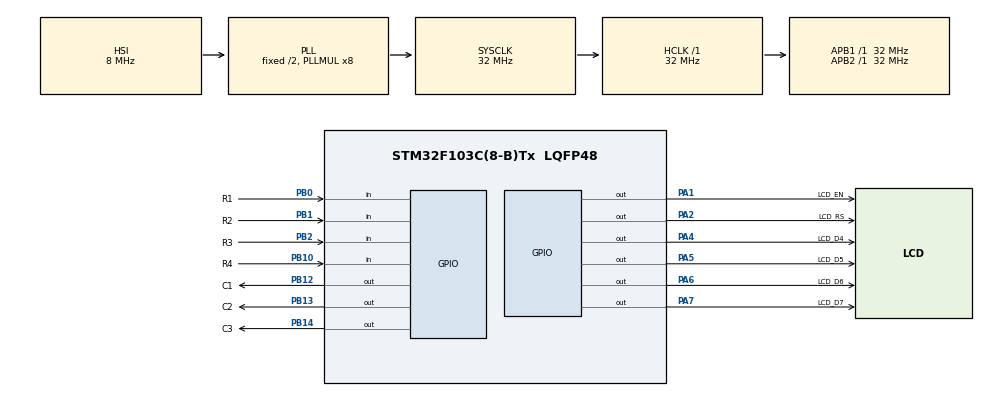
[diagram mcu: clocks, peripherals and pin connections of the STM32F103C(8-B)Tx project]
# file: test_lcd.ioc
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Mcu.Family=STM32F1
Mcu.Name=STM32F103C(8-B)Tx
Mcu.Package=LQFP48
NVIC.PriorityGroup=NVIC_PRIORITYGROUP_4
PA1.GPIO_Label=LCD_EN
PA1.Signal=GPIO_Output
PA13.Mode=Serial_Wire
PA13.Signal=SYS_JTMS-SWDIO
PA14.Mode=Serial_Wire
PA14.Signal=SYS_JTCK-SWCLK
PA2.GPIO_Label=LCD_RS
PA2.Signal=GPIO_Output
PA4.GPIO_Label=LCD_D4
PA4.Signal=GPIO_Output
PA5.GPIO_Label=LCD_D5
PA5.Signal=GPIO_Output
PA6.GPIO_Label=LCD_D6
PA6.Signal=GPIO_Output
PA7.GPIO_Label=LCD_D7
PA7.Signal=GPIO_Output
PB0.GPIO_Label=R1
PB0.GPIO_PuPd=GPIO_PULLDOWN
PB0.Signal=GPIO_Input
PB1.GPIO_Label=R2
PB1.GPIO_PuPd=GPIO_PULLDOWN
PB1.Signal=GPIO_Input
PB10.GPIO_Label=R4
PB10.GPIO_PuPd=GPIO_PULLDOWN
PB10.Signal=GPIO_Input
PB12.GPIO_Label=C1
PB12.GPIO_ModeDefaultOutputPP=GPIO_MODE_OUTPUT_OD
PB12.GPIO_PuPd=GPIO_PULLDOWN
PB12.GPIO_Speed=GPIO_SPEED_FREQ_HIGH
PB12.PinState=GPIO_PIN_SET
PB12.Signal=GPIO_Output
PB13.GPIO_Label=C2
PB13.GPIO_ModeDefaultOutputPP=GPIO_MODE_OUTPUT_OD
PB13.GPIO_PuPd=GPIO_PULLDOWN
PB13.GPIO_Speed=GPIO_SPEED_FREQ_HIGH
PB13.PinState=GPIO_PIN_SET
PB13.Signal=GPIO_Output
PB14.GPIO_Label=C3
PB14.GPIO_ModeDefaultOutputPP=GPIO_MODE_OUTPUT_OD
PB14.GPIO_PuPd=GPIO_NOPULL
PB14.GPIO_Speed=GPIO_SPEED_FREQ_HIGH
PB14.PinState=GPIO_PIN_SET
PB14.Signal=GPIO_Output
PB2.GPIO_Label=R3
PB2.GPIO_PuPd=GPIO_PULLDOWN
PB2.Signal=GPIO_Input
PD0-OSC_IN.Mode=HSE-External-Oscillator
PD0-OSC_IN.Signal=RCC_OSC_IN
PD1-OSC_OUT.Mode=HSE-External-Oscillator
PD1-OSC_OUT.Signal=RCC_OSC_OUT
ProjectManager.HeapSize=0x200
ProjectManager.StackSize=0x400
ProjectManager.TargetToolchain=MDK-ARM V5
RCC.AHBFreq_Value=32000000
RCC.APB1Freq_Value=32000000
RCC.APB1TimFreq_Value=32000000
RCC.APB2Freq_Value=32000000
RCC.APB2TimFreq_Value=32000000
RCC.HCLKFreq_Value=32000000
RCC.PLLMUL=RCC_PLL_MUL8
RCC.SYSCLKFreq_VALUE=32000000
RCC.SYSCLKSource=RCC_SYSCLKSOURCE_PLLCLK
RCC.USBFreq_Value=32000000
board=custom

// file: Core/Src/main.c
/* USER CODE BEGIN Header */
/**
  ******************************************************************************
  * @file           : main.c
  * @brief          : Main program body
  ******************************************************************************
  * @attention
  *
  * <h2><center>&copy; Copyright (c) 2020 STMicroelectronics.
  * All rights reserved.</center></h2>
  *
  * This software component is licensed by ST under BSD 3-Clause license,
  * the "License"; You may not use this file except in compliance with the
  * License. You may obtain a copy of the License at:
  *                        opensource.org/licenses/BSD-3-Clause
  *
  ******************************************************************************
  */
/* USER CODE END Header */
#include "main.h"

/* USER CODE BEGIN PD */

#include "stdio.h"

/* USER CODE END PD */

void SystemClock_Config(void);
static void MX_GPIO_Init(void);
/* USER CODE BEGIN PFP */
#include "lcd.h"
/* USER CODE END PFP */

int main(void)
{

  /* MCU Configuration--------------------------------------------------------*/

  /* Reset of all peripherals, Initializes the Flash interface and the Systick. */
  HAL_Init();

  /* Configure the system clock */
  SystemClock_Config();

  /* Initialize all configured peripherals */
  MX_GPIO_Init();
  /* USER CODE BEGIN 2 */
	  lcd_init(_LCD_4BIT, _LCD_FONT_5x8, _LCD_2LINE);
	//	lcd_print(1,1,"Entered Number");
		char yazi[1]=" ";
		char yazi2[1]=" ";
		int i=0;
		int s=0;

  /* USER CODE END 2 */

  /* Infinite loop */
  while (1)
  {

    /* USER CODE BEGIN 3 */

		HAL_GPIO_WritePin(GPIOB, GPIO_PIN_0, GPIO_PIN_RESET);
		HAL_GPIO_WritePin(GPIOB, GPIO_PIN_1, GPIO_PIN_SET);
		HAL_GPIO_WritePin(GPIOB, GPIO_PIN_2, GPIO_PIN_SET);
		HAL_GPIO_WritePin(GPIOB, GPIO_PIN_10, GPIO_PIN_SET);
		HAL_Delay(1);

		if (!HAL_GPIO_ReadPin(GPIOB, GPIO_PIN_12)){

				lcd_print(2,1,"1");

		}
		if (!HAL_GPIO_ReadPin(GPIOB, GPIO_PIN_13)){

				lcd_print(2,1,"2");

		}
		if (!HAL_GPIO_ReadPin(GPIOB, GPIO_PIN_14)){

				lcd_print(2,1,"3");

		}

		HAL_GPIO_WritePin(GPIOB, GPIO_PIN_12, GPIO_PIN_SET);
		HAL_GPIO_WritePin(GPIOB, GPIO_PIN_13, GPIO_PIN_SET);
		HAL_GPIO_WritePin(GPIOB, GPIO_PIN_14, GPIO_PIN_SET);

		HAL_GPIO_WritePin(GPIOB, GPIO_PIN_0, GPIO_PIN_SET);
		HAL_GPIO_WritePin(GPIOB, GPIO_PIN_1, GPIO_PIN_RESET);
		HAL_GPIO_WritePin(GPIOB, GPIO_PIN_2, GPIO_PIN_SET);
		HAL_GPIO_WritePin(GPIOB, GPIO_PIN_10, GPIO_PIN_SET);
		HAL_Delay(1);

		if (!HAL_GPIO_ReadPin(GPIOB, GPIO_PIN_12)){

				lcd_print(2,1,"4");

		}
		if (!HAL_GPIO_ReadPin(GPIOB, GPIO_PIN_13)){

				lcd_print(2,1,"5");

		}
		if (!HAL_GPIO_ReadPin(GPIOB, GPIO_PIN_14)){

				lcd_print(2,1,"6");

		}

		HAL_GPIO_WritePin(GPIOB, GPIO_PIN_12, GPIO_PIN_SET);
		HAL_GPIO_WritePin(GPIOB, GPIO_PIN_13, GPIO_PIN_SET);
		HAL_GPIO_WritePin(GPIOB, GPIO_PIN_14, GPIO_PIN_SET);

		HAL_GPIO_WritePin(GPIOB, GPIO_PIN_0, GPIO_PIN_SET);
		HAL_GPIO_WritePin(GPIOB, GPIO_PIN_1, GPIO_PIN_SET);
		HAL_GPIO_WritePin(GPIOB, GPIO_PIN_2, GPIO_PIN_RESET);
		HAL_GPIO_WritePin(GPIOB, GPIO_PIN_10, GPIO_PIN_SET);
		HAL_Delay(1);

		if (!HAL_GPIO_ReadPin(GPIOB, GPIO_PIN_12)){

				lcd_print(2,1,"7");

		}
		if (!HAL_GPIO_ReadPin(GPIOB, GPIO_PIN_13)){

				lcd_print(2,1,"8");

		}
		if (!HAL_GPIO_ReadPin(GPIOB, GPIO_PIN_14)){

				lcd_print(2,1,"9");

		}

		HAL_GPIO_WritePin(GPIOB, GPIO_PIN_12, GPIO_PIN_SET);
		HAL_GPIO_WritePin(GPIOB, GPIO_PIN_13, GPIO_PIN_SET);
		HAL_GPIO_WritePin(GPIOB, GPIO_PIN_14, GPIO_PIN_SET);

		HAL_GPIO_WritePin(GPIOB, GPIO_PIN_0, GPIO_PIN_SET);
		HAL_GPIO_WritePin(GPIOB, GPIO_PIN_1, GPIO_PIN_SET);
		HAL_GPIO_WritePin(GPIOB, GPIO_PIN_2, GPIO_PIN_SET);
		HAL_GPIO_WritePin(GPIOB, GPIO_PIN_10, GPIO_PIN_RESET);
		HAL_Delay(1);

		if (!HAL_GPIO_ReadPin(GPIOB, GPIO_PIN_12)){

				lcd_print(2,1,"*");

		}
		if (!HAL_GPIO_ReadPin(GPIOB, GPIO_PIN_13)){

				lcd_print(2,1,"0");

		}
		if (!HAL_GPIO_ReadPin(GPIOB, GPIO_PIN_14)){

				lcd_print(2,1,"#");

		}
		HAL_GPIO_WritePin(GPIOB, GPIO_PIN_12, GPIO_PIN_SET);
		HAL_GPIO_WritePin(GPIOB, GPIO_PIN_13, GPIO_PIN_SET);
		HAL_GPIO_WritePin(GPIOB, GPIO_PIN_14, GPIO_PIN_SET);

  }
  /* USER CODE END 3 */
}

void SystemClock_Config(void)
{
  RCC_OscInitTypeDef RCC_OscInitStruct = {0};
  RCC_ClkInitTypeDef RCC_ClkInitStruct = {0};

  /** Initializes the RCC Oscillators according to the specified parameters
  * in the RCC_OscInitTypeDef structure.
  */
  RCC_OscInitStruct.OscillatorType = RCC_OSCILLATORTYPE_HSI;
  RCC_OscInitStruct.HSIState = RCC_HSI_ON;
  RCC_OscInitStruct.HSICalibrationValue = RCC_HSICALIBRATION_DEFAULT;
  RCC_OscInitStruct.PLL.PLLState = RCC_PLL_ON;
  RCC_OscInitStruct.PLL.PLLSource = RCC_PLLSOURCE_HSI_DIV2;
  RCC_OscInitStruct.PLL.PLLMUL = RCC_PLL_MUL8;
  if (HAL_RCC_OscConfig(&RCC_OscInitStruct) != HAL_OK)
  {
    Error_Handler();
  }
  /** Initializes the CPU, AHB and APB buses clocks
  */
  RCC_ClkInitStruct.ClockType = RCC_CLOCKTYPE_HCLK|RCC_CLOCKTYPE_SYSCLK
                              |RCC_CLOCKTYPE_PCLK1|RCC_CLOCKTYPE_PCLK2;
  RCC_ClkInitStruct.SYSCLKSource = RCC_SYSCLKSOURCE_PLLCLK;
  RCC_ClkInitStruct.AHBCLKDivider = RCC_SYSCLK_DIV1;
  RCC_ClkInitStruct.APB1CLKDivider = RCC_HCLK_DIV1;
  RCC_ClkInitStruct.APB2CLKDivider = RCC_HCLK_DIV1;

  if (HAL_RCC_ClockConfig(&RCC_ClkInitStruct, FLASH_LATENCY_1) != HAL_OK)
  {
    Error_Handler();
  }
}

static void MX_GPIO_Init(void)
{
  GPIO_InitTypeDef GPIO_InitStruct = {0};

  /* GPIO Ports Clock Enable */
  __HAL_RCC_GPIOD_CLK_ENABLE();
  __HAL_RCC_GPIOA_CLK_ENABLE();
  __HAL_RCC_GPIOB_CLK_ENABLE();

  /*Configure GPIO pin Output Level */
  HAL_GPIO_WritePin(GPIOA, LCD_EN_Pin|LCD_RS_Pin|LCD_D4_Pin|LCD_D5_Pin
                          |LCD_D6_Pin|LCD_D7_Pin, GPIO_PIN_RESET);

  /*Configure GPIO pin Output Level */
  HAL_GPIO_WritePin(GPIOB, C1_Pin|C2_Pin|C3_Pin, GPIO_PIN_SET);

  /*Configure GPIO pins : LCD_EN_Pin LCD_RS_Pin LCD_D4_Pin LCD_D5_Pin
                           LCD_D6_Pin LCD_D7_Pin */
  GPIO_InitStruct.Pin = LCD_EN_Pin|LCD_RS_Pin|LCD_D4_Pin|LCD_D5_Pin
                          |LCD_D6_Pin|LCD_D7_Pin;
  GPIO_InitStruct.Mode = GPIO_MODE_OUTPUT_PP;
  GPIO_InitStruct.Pull = GPIO_NOPULL;
  GPIO_InitStruct.Speed = GPIO_SPEED_FREQ_LOW;
  HAL_GPIO_Init(GPIOA, &GPIO_InitStruct);

  /*Configure GPIO pins : R1_Pin R2_Pin R3_Pin R4_Pin */
  GPIO_InitStruct.Pin = R1_Pin|R2_Pin|R3_Pin|R4_Pin;
  GPIO_InitStruct.Mode = GPIO_MODE_INPUT;
  GPIO_InitStruct.Pull = GPIO_PULLDOWN;
  HAL_GPIO_Init(GPIOB, &GPIO_InitStruct);

  /*Configure GPIO pins : C1_Pin C2_Pin */
  GPIO_InitStruct.Pin = C1_Pin|C2_Pin|C3_Pin;
  GPIO_InitStruct.Mode = GPIO_MODE_OUTPUT_OD;
  GPIO_InitStruct.Pull = GPIO_PULLDOWN;
  GPIO_InitStruct.Speed = GPIO_SPEED_FREQ_HIGH;
  HAL_GPIO_Init(GPIOB, &GPIO_InitStruct);

}

void Error_Handler(void)
{
  __disable_irq();
  while (1)
  {
  }
}

/************************ (C) COPYRIGHT STMicroelectronics *****END OF FILE****/
